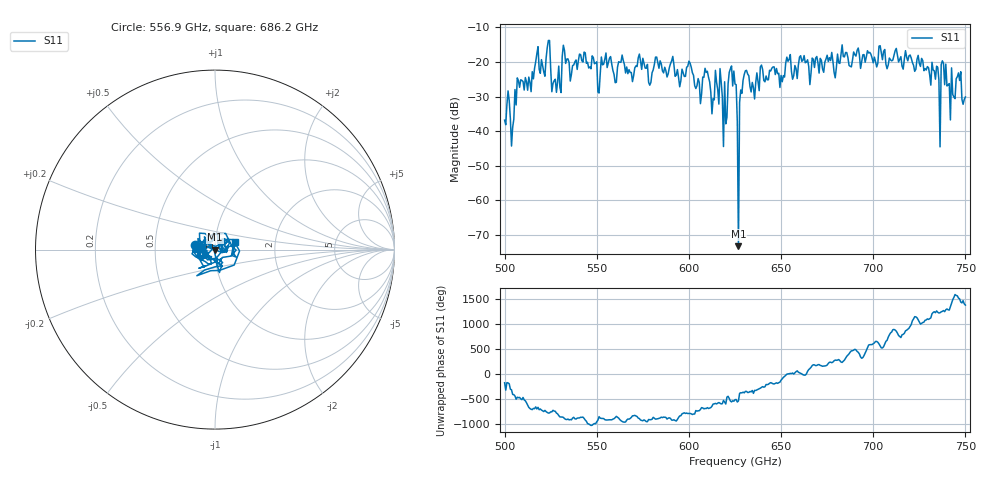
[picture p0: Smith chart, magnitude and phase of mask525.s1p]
!Created with skrf (http://scikit-rf.org).
# GHz S MA R 50.0
!freq magS11 angS11
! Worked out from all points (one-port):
!   401 points, 500 GHz to 750 GHz, reference 50 ohm
!   lowest |S11| = -73.3 dB at 626.9 GHz (marker M1), VSWR 1.00, Z = 50 - j0.00143 ohm
!   |S11| at or under -10 dB: start of sweep to end of sweep
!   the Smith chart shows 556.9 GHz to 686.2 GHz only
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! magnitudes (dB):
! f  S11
! 500 GHz  -36.8
! 503.8 GHz  -44.3
! 508.1 GHz  -27.3
! 513.1 GHz  -24.4
! 517.5 GHz  -17.6
! 523.8 GHz  -13.8
! 526.9 GHz  -25.4
! 531.2 GHz  -18.4
! 562.5 GHz  -20.1
! 593.8 GHz  -22.2
! 609.4 GHz  -23.0
! 612.5 GHz  -35.0
! 616.2 GHz  -32.2
! 619.4 GHz  -25.7
! 622.5 GHz  -22.0
! 625 GHz  -26.4
! 625.6 GHz  -26.5
! 626.9 GHz  -73.3
! 630.6 GHz  -22.5
! 634.4 GHz  -25.9
! 656.2 GHz  -25.0
! 687.5 GHz  -21.2
! 718.8 GHz  -19.7
! 735 GHz  -21.5
! 738.1 GHz  -20.4
! 743.1 GHz  -29.4
! 746.2 GHz  -23.1
! 750 GHz  -30.1
